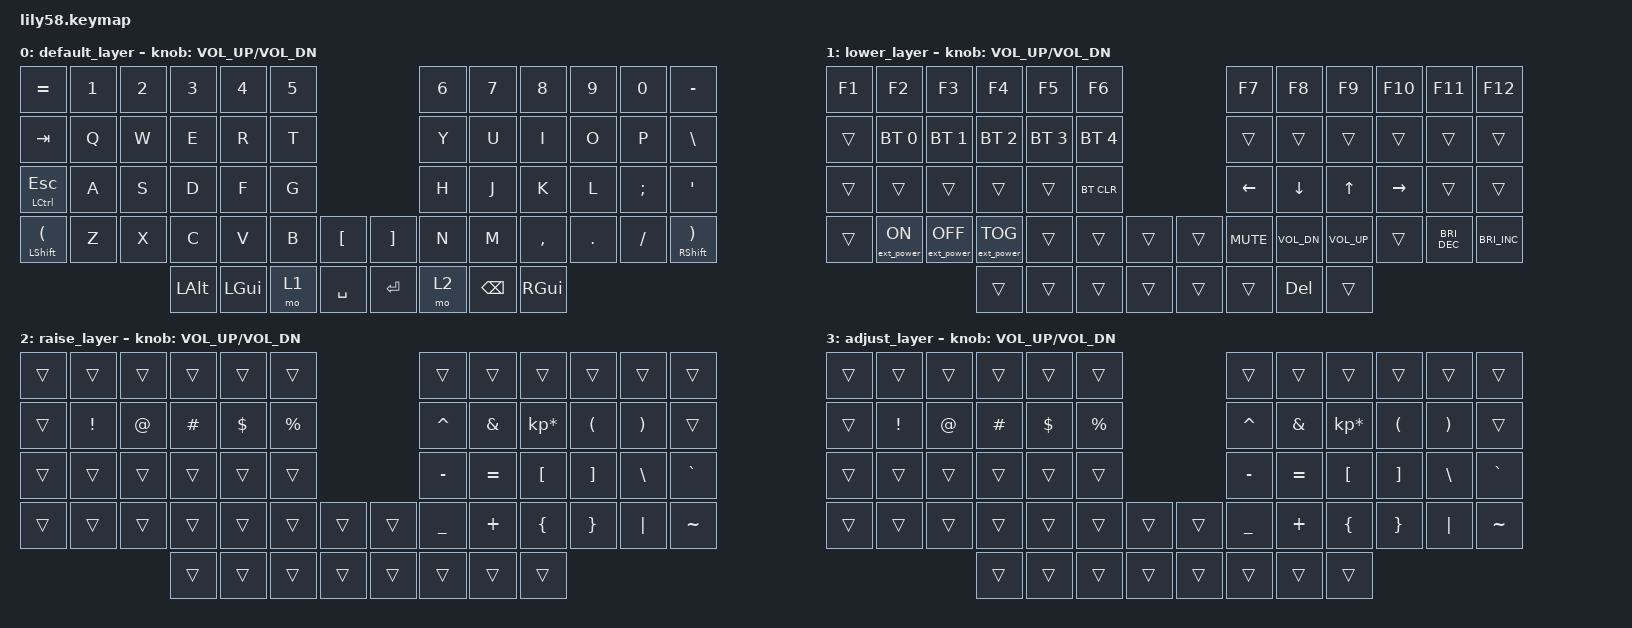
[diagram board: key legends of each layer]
/*
 * Copyright (c) 2020 The ZMK Contributors
 *
 * SPDX-License-Identifier: MIT
 */

#include <behaviors.dtsi>
#include <dt-bindings/zmk/keys.h>
#include <dt-bindings/zmk/bt.h>
#include <dt-bindings/zmk/ext_power.h>

/ {
        conditional_layers {
              compatible = "zmk,conditional-layers";
              tri_layer {
                    if-layers = <1 2>;
                    then-layer = <3>;
              };
        };

        keymap {
            compatible = "zmk,keymap";

            default_layer {
// --------------------------------------------------------------------------------------------------------------------
// |  ESC  |   1   |   2   |   3   |   4   |   5   |                  |   6   |   7   |   8   |   9   |   0   |   `   |
// |  TAB  |   Q   |   W   |   E   |   R   |   T   |                  |   Y   |   U   |   I   |   O   |   P   |   -   |
// |  CTRL |   A   |   S   |   D   |   F   |   G   |                  |   H   |   J   |   K   |   L   |   ;   |   '   |
// | SHIFT |   Z   |   X   |   C   |   V   |   B   |  "["  |  |  "]"  |   N   |   M   |   ,   |   .   |   /   | SHIFT |
//                         |  ALT  |  GUI  | LOWER | SPACE |  | ENTER | RAISE | BSPC  |  GUI  |
            bindings = <
&kp EQUAL      &kp N1 &kp N2 &kp N3   &kp N4   &kp N5                     &kp N6 &kp N7   &kp N8    &kp N9  &kp N0   &kp MINUS
&kp TAB        &kp Q  &kp W  &kp E    &kp R    &kp T                      &kp Y  &kp U    &kp I     &kp O   &kp P    &kp BSLH
&mt LCTRL ESC  &kp A  &kp S  &kp D    &kp F    &kp G                      &kp H  &kp J    &kp K     &kp L   &kp SEMI &kp SQT
&mt LSHFT LPAR &kp Z  &kp X  &kp C    &kp V    &kp B  &kp LBKT   &kp RBKT &kp N  &kp M    &kp COMMA &kp DOT &kp FSLH &mt RSHFT RPRN
                             &kp LALT &kp LGUI &mo 1  &kp SPACE  &kp RET  &mo 2  &kp BSPC &kp RGUI
            >;

            sensor-bindings = <&inc_dec_kp C_VOL_UP C_VOL_DN>;
        };

        lower_layer {
// --------------------------------------------------------------------------------------------------------------------
// |   F1  |   F2  |   F3  |   F4  |   F5  |   F6  |                  |   F7  |   F8  |   F9  |  F10  |  F11  |  F12  |
// |       |  BT1  |  BT2  |  BT3  |  BT4  |  BT5  |                  |       |       |       |       |       |       |
// |       |       |       |       |       | BTCLR |                  |  LFT  |  DWN  |   UP  |  RGT  |       |       |
// |       |       |       |       |       |       |       |  |       |  VMT  |  VDN  |  VUP  |       |  BDN  |  BUP  |
//                         |       |       |       |       |  |       |       |  DEL  |       | 
            bindings = <
&kp F1 &kp F2           &kp F3            &kp F4            &kp F5       &kp F6                        &kp F7     &kp F8       &kp F9       &kp F10   &kp F11       &kp F12
&trans &bt BT_SEL 0     &bt BT_SEL 1      &bt BT_SEL 2      &bt BT_SEL 3 &bt BT_SEL 4                  &trans     &trans       &trans       &trans    &trans        &trans
&trans &trans           &trans            &trans            &trans       &bt BT_CLR                    &kp LEFT   &kp DOWN     &kp UP       &kp RIGHT &trans        &trans
&trans &ext_power EP_ON &ext_power EP_OFF &ext_power EP_TOG &trans       &trans        &trans   &trans &kp K_MUTE &kp C_VOL_DN &kp C_VOL_UP &trans    &kp C_BRI_DEC &kp C_BRI_INC
                                          &trans            &trans       &trans        &trans   &trans &trans     &kp DEL      &trans
            >;

            sensor-bindings = <&inc_dec_kp C_VOL_UP C_VOL_DN>;
        };

        raise_layer {
// --------------------------------------------------------------------------------------------------------------------
// |       |       |       |       |       |       |                  |       |       |       |       |       |       |
// |       |   !   |   @   |   #   |   $   |   %   |                  |   ^   |   &   |   *   |   (   |   )   |       |
// |       |       |       |       |       |       |                  |   -   |   =   |   [   |   ]   |   \   |       |
// |       |       |       |       |       |       |       |  |       |   _   |   +   |   {   |   }   |  "|"  |   ~   |
//                         |       |       |       |       |  |       |       |       |       |
            bindings = <
&trans &trans   &trans &trans   &trans   &trans                   &trans    &trans    &trans          &trans   &trans   &trans
&trans &kp EXCL &kp AT &kp HASH &kp DLLR &kp PRCNT                &kp CARET &kp AMPS  &kp KP_MULTIPLY &kp LPAR &kp RPAR &trans
&trans &trans   &trans &trans   &trans   &trans                   &kp MINUS &kp EQUAL &kp LBKT        &kp RBKT &kp BSLH &kp GRAVE
&trans &trans   &trans &trans   &trans   &trans    &trans  &trans &kp UNDER &kp PLUS  &kp LBRC        &kp RBRC &kp PIPE &kp TILDE
                       &trans   &trans   &trans    &trans  &trans &trans    &trans    &trans
            >;

            sensor-bindings = <&inc_dec_kp C_VOL_UP C_VOL_DN>;
        };

        adjust_layer {
// --------------------------------------------------------------------------------------------------------------------
// |       |       |       |       |       |       |                  |       |       |       |       |       |       |
// |       |   !   |   @   |   #   |   $   |   %   |                  |   ^   |   &   |   *   |   (   |   )   |       |
// |       |       |       |       |       |       |                  |   -   |   =   |   [   |   ]   |   \   |       |
// |       |       |       |       |       |       |       |  |       |   _   |   +   |   {   |   }   |  "|"  |   ~   |
//                         |       |       |       |       |  |       |       |       |       |
            bindings = <
&trans &trans   &trans &trans   &trans   &trans                   &trans    &trans    &trans          &trans   &trans   &trans
&trans &kp EXCL &kp AT &kp HASH &kp DLLR &kp PRCNT                &kp CARET &kp AMPS  &kp KP_MULTIPLY &kp LPAR &kp RPAR &trans
&trans &trans   &trans &trans   &trans   &trans                   &kp MINUS &kp EQUAL &kp LBKT        &kp RBKT &kp BSLH &kp GRAVE
&trans &trans   &trans &trans   &trans   &trans    &trans  &trans &kp UNDER &kp PLUS  &kp LBRC        &kp RBRC &kp PIPE &kp TILDE
                       &trans   &trans   &trans    &trans  &trans &trans    &trans    &trans
            >;

            sensor-bindings = <&inc_dec_kp C_VOL_UP C_VOL_DN>;
        };
    };
};
